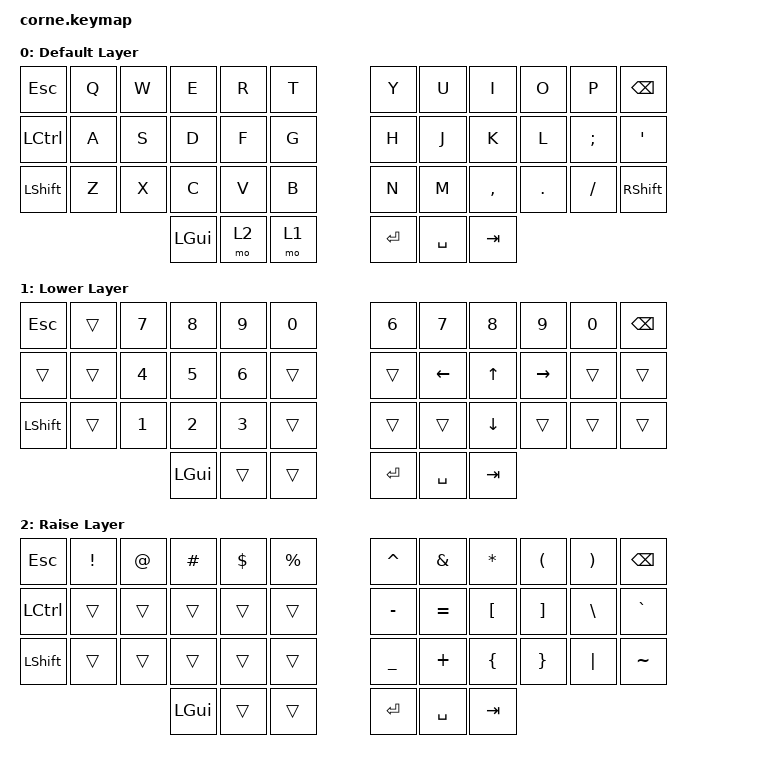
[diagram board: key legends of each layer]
/*
 * Copyright (c) 2020 The ZMK Contributors
 *
 * SPDX-License-Identifier: MIT
 */

#include <behaviors.dtsi>
#include <dt-bindings/zmk/keys.h>

/ {
    keymap {
        compatible = "zmk,keymap";

        default_layer {
            display-name = "Default Layer";

            // -----------------------------------------------------------------------------------------
            // |  TAB |  Q  |  W  |  E  |  R  |  T  |   |  Y  |  U   |  I  |  O  |  P  | BSPC |
            // | CTRL |  A  |  S  |  D  |  F  |  G  |   |  H  |  J   |  K  |  L  |  ;  |  '   |
            // | SHFT |  Z  |  X  |  C  |  V  |  B  |   |  N  |  M   |  ,  |  .  |  /  | ESC  |
            //                    | GUI | LWR | RSE |   | ENT | SPC  | ALT |

            bindings = <
&kp ESC    &kp Q  &kp W  &kp E     &kp R  &kp T    &kp Y    &kp U      &kp I      &kp O    &kp P     &kp BSPC
&kp LCTRL  &kp A  &kp S  &kp D     &kp F  &kp G    &kp H    &kp J      &kp K      &kp L    &kp SEMI  &kp SQT
&kp LSHFT  &kp Z  &kp X  &kp C     &kp V  &kp B    &kp N    &kp M      &kp COMMA  &kp DOT  &kp FSLH  &kp RIGHT_SHIFT
                         &kp LGUI  &mo 2  &mo 1    &kp RET  &kp SPACE  &kp TAB
            >;
        };

        lower_layer {
            display-name = "Lower Layer";

            // -----------------------------------------------------------------------------------------
            // |  TAB |  1  |  2  |  3  |  4  |  5  |   |  6  |  7  |  8  |  9  |  0  | BSPC |
            // | BTCLR| BT1 | BT2 | BT3 | BT4 | BT5 |   | LFT | DWN |  UP | RGT |     |      |
            // | SHFT |     |     |     |     |     |   |     |     |     |     |     |      |
            //                    | GUI |     | SPC |   | ENT |     | ALT |

            bindings = <
&kp ESC    &trans  &kp N7  &kp N8    &kp N9        &kp N0    &kp N6   &kp N7     &kp N8    &kp N9     &kp N0  &kp BSPC
&trans     &trans  &kp N4  &kp N5    &kp NUMBER_6  &trans    &trans   &kp LEFT   &kp UP    &kp RIGHT  &trans  &trans
&kp LSHFT  &trans  &kp N1  &kp N2    &kp N3        &trans    &trans   &trans     &kp DOWN  &trans     &trans  &trans
                           &kp LGUI  &trans        &trans    &kp RET  &kp SPACE  &kp TAB
            >;
        };

        raise_layer {
            display-name = "Raise Layer";

            // -----------------------------------------------------------------------------------------
            // |  TAB |  !  |  @  |  #  |  $  |  %  |   |  ^  |  &  |  *  |  (  |  )  | BSPC |
            // | CTRL |     |     |     |     |     |   |  -  |  =  |  [  |  ]  |  \  |  `   |
            // | SHFT |     |     |     |     |     |   |  _  |  +  |  {  |  }  | "|" |  ~   |
            //                    | GUI |     | SPC |   | ENT |     | ALT |

            bindings = <
&kp ESC    &kp EXCL  &kp AT  &kp HASH  &kp DLLR  &kp PRCNT    &kp CARET  &kp AMPS   &kp ASTRK  &kp LPAR  &kp RPAR  &kp BSPC
&kp LCTRL  &trans    &trans  &trans    &trans    &trans       &kp MINUS  &kp EQUAL  &kp LBKT   &kp RBKT  &kp BSLH  &kp GRAVE
&kp LSHFT  &trans    &trans  &trans    &trans    &trans       &kp UNDER  &kp PLUS   &kp LBRC   &kp RBRC  &kp PIPE  &kp TILDE
                             &kp LGUI  &trans    &trans       &kp RET    &kp SPACE  &kp TAB
            >;
        };
    };
};
